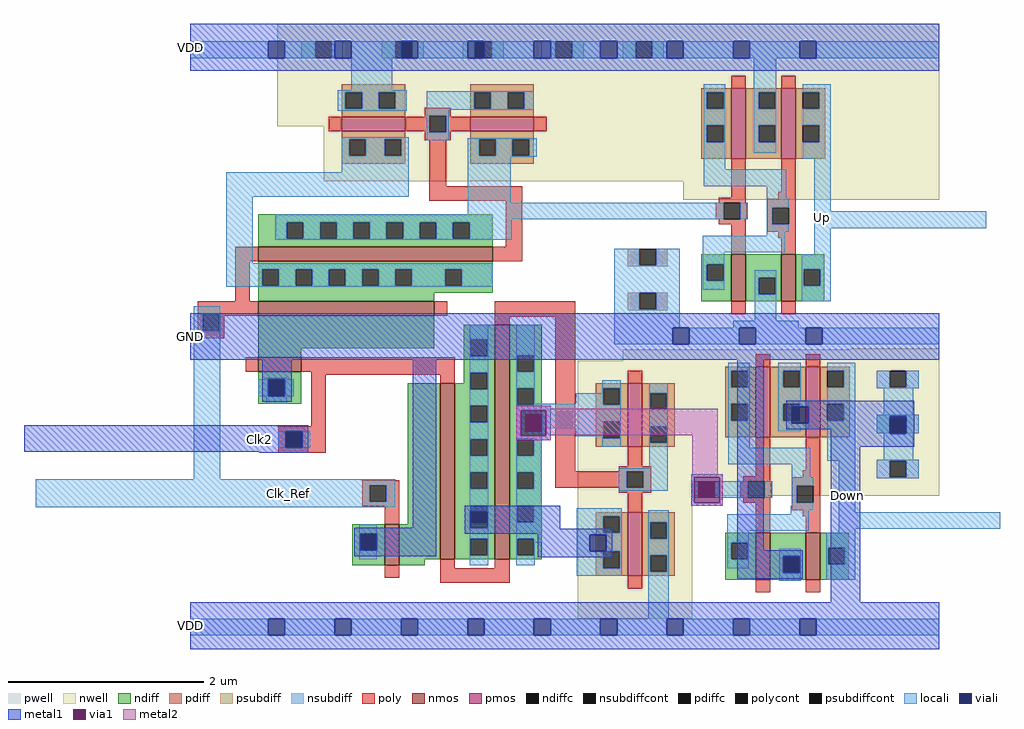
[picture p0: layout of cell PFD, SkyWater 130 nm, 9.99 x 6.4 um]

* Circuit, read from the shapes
.subckt PFD Clk_Ref Up Down Clk2 GND VDD
XM1 n1 Clk2 GND GND sky130_fd_pr__nfet_01v8 w=0.44 l=0.15
XM2 n2 Clk_Ref n1 GND sky130_fd_pr__nfet_01v8 w=1.8 l=0.15
XM3 n3 Clk_Ref n2 GND sky130_fd_pr__nfet_01v8 w=2.4 l=0.15
XM4 n4 Clk_Ref GND GND sky130_fd_pr__nfet_01v8 w=0.42 l=0.15
XM5 n5 Clk2 n4 GND sky130_fd_pr__nfet_01v8 w=1.8 l=0.15
XM6 n6 Clk2 n5 GND sky130_fd_pr__nfet_01v8 w=2.4 l=0.15
XM7 GND n3 n7 GND sky130_fd_pr__nfet_01v8 w=0.48 l=0.15
XM8 GND n6 n8 GND sky130_fd_pr__nfet_01v8 w=0.48 l=0.15
XM9 Up n7 GND GND sky130_fd_pr__nfet_01v8 w=0.48 l=0.15
XM10 Down n8 GND GND sky130_fd_pr__nfet_01v8 w=0.48 l=0.15
XM11 VDD Clk_Ref n2 VDD sky130_fd_pr__pfet_01v8 w=0.65 l=0.15
XM12 Clk_Ref Clk_Ref n3 VDD sky130_fd_pr__pfet_01v8 w=0.65 l=0.15
XM13 VDD Clk2 n5 VDD sky130_fd_pr__pfet_01v8 w=0.65 l=0.15
XM14 Clk2 Clk2 n6 VDD sky130_fd_pr__pfet_01v8 w=0.65 l=0.15
XM15 VDD n3 n7 VDD sky130_fd_pr__pfet_01v8 w=0.72 l=0.15
XM16 VDD n6 n8 VDD sky130_fd_pr__pfet_01v8 w=0.72 l=0.15
XM17 Up n7 VDD VDD sky130_fd_pr__pfet_01v8 w=0.72 l=0.15
XM18 Down n8 VDD VDD sky130_fd_pr__pfet_01v8 w=0.72 l=0.15
.ends

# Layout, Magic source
magic
tech sky130A
magscale 1 2
<< nwell >>
rect 178 1070 1534 1280
rect 274 958 1534 1070
rect 1010 920 1534 958
rect 1354 614 1534 616
rect 886 590 1534 614
rect 794 314 1534 590
rect 794 62 1028 314
<< pwell >>
rect 896 784 978 820
rect 896 694 978 730
<< nmos >>
rect 140 794 620 824
rect 140 682 500 712
rect 1108 712 1138 808
rect 1210 712 1240 808
rect 140 568 228 598
rect 398 172 428 256
rect 512 184 542 544
rect 624 184 654 664
rect 1158 142 1188 238
rect 1260 142 1290 238
<< pmos >>
rect 310 1060 440 1090
rect 574 1060 704 1090
rect 1108 1004 1138 1148
rect 1210 1004 1240 1148
rect 896 414 926 544
rect 1158 434 1188 578
rect 1260 434 1290 578
rect 896 150 926 280
<< ndiff >>
rect 140 874 620 890
rect 140 840 198 874
rect 232 840 266 874
rect 300 840 334 874
rect 368 840 402 874
rect 436 840 470 874
rect 504 840 538 874
rect 572 840 620 874
rect 140 824 620 840
rect 140 778 620 794
rect 1046 788 1108 808
rect 140 744 148 778
rect 182 744 216 778
rect 250 744 284 778
rect 318 744 352 778
rect 386 744 420 778
rect 454 744 522 778
rect 556 744 620 778
rect 140 730 620 744
rect 1046 754 1058 788
rect 1092 754 1108 788
rect 140 712 500 730
rect 140 616 500 682
rect 1046 712 1108 754
rect 1138 760 1210 808
rect 1138 726 1164 760
rect 1198 726 1210 760
rect 1138 712 1210 726
rect 1240 778 1298 808
rect 1240 744 1256 778
rect 1290 744 1298 778
rect 1240 712 1298 744
rect 560 634 624 664
rect 140 598 228 616
rect 560 600 574 634
rect 608 600 624 634
rect 140 552 228 568
rect 140 518 160 552
rect 194 518 228 552
rect 140 502 228 518
rect 560 566 624 600
rect 560 544 574 566
rect 446 256 512 544
rect 332 236 398 256
rect 332 202 348 236
rect 382 202 398 236
rect 332 172 398 202
rect 428 184 512 256
rect 542 532 574 544
rect 608 532 624 566
rect 542 498 624 532
rect 542 464 574 498
rect 608 464 624 498
rect 542 430 624 464
rect 542 396 574 430
rect 608 396 624 430
rect 542 362 624 396
rect 542 328 574 362
rect 608 328 624 362
rect 542 294 624 328
rect 542 260 574 294
rect 608 260 624 294
rect 542 226 624 260
rect 542 192 574 226
rect 608 192 624 226
rect 542 184 624 192
rect 654 602 720 664
rect 654 568 670 602
rect 704 568 720 602
rect 654 534 720 568
rect 654 500 670 534
rect 704 500 720 534
rect 654 430 720 500
rect 654 396 670 430
rect 704 396 720 430
rect 654 362 720 396
rect 654 328 670 362
rect 704 328 720 362
rect 654 294 720 328
rect 654 260 670 294
rect 704 260 720 294
rect 654 226 720 260
rect 654 192 670 226
rect 704 192 720 226
rect 654 184 720 192
rect 428 172 480 184
rect 1096 218 1158 238
rect 1096 184 1108 218
rect 1142 184 1158 218
rect 1096 142 1158 184
rect 1188 190 1260 238
rect 1188 156 1214 190
rect 1248 156 1260 190
rect 1188 142 1260 156
rect 1290 208 1348 238
rect 1290 174 1306 208
rect 1340 174 1348 208
rect 1290 142 1348 174
<< pdiff >>
rect 310 1140 440 1156
rect 310 1106 318 1140
rect 352 1106 386 1140
rect 420 1106 440 1140
rect 574 1140 704 1156
rect 310 1090 440 1106
rect 310 1044 440 1060
rect 310 1010 326 1044
rect 360 1010 398 1044
rect 432 1010 440 1044
rect 574 1106 582 1140
rect 616 1106 650 1140
rect 684 1106 704 1140
rect 574 1090 704 1106
rect 1046 1140 1108 1148
rect 1046 1106 1058 1140
rect 1092 1106 1108 1140
rect 1046 1072 1108 1106
rect 574 1044 704 1060
rect 310 994 440 1010
rect 574 1010 592 1044
rect 626 1010 660 1044
rect 694 1010 704 1044
rect 574 994 704 1010
rect 1046 1038 1058 1072
rect 1092 1038 1108 1072
rect 1046 1004 1108 1038
rect 1138 1140 1210 1148
rect 1138 1106 1164 1140
rect 1198 1106 1210 1140
rect 1138 1072 1210 1106
rect 1138 1038 1164 1072
rect 1198 1038 1210 1072
rect 1138 1004 1210 1038
rect 1240 1140 1300 1148
rect 1240 1106 1254 1140
rect 1288 1106 1300 1140
rect 1240 1072 1300 1106
rect 1240 1038 1254 1072
rect 1288 1038 1300 1072
rect 1240 1004 1300 1038
rect 1096 570 1158 578
rect 830 534 896 544
rect 830 500 846 534
rect 880 500 896 534
rect 830 466 896 500
rect 830 432 846 466
rect 880 432 896 466
rect 830 414 896 432
rect 926 524 992 544
rect 926 490 942 524
rect 976 490 992 524
rect 926 456 992 490
rect 926 422 942 456
rect 976 422 992 456
rect 1096 536 1108 570
rect 1142 536 1158 570
rect 1096 502 1158 536
rect 1096 468 1108 502
rect 1142 468 1158 502
rect 1096 434 1158 468
rect 1188 570 1260 578
rect 1188 536 1214 570
rect 1248 536 1260 570
rect 1188 502 1260 536
rect 1188 468 1214 502
rect 1248 468 1260 502
rect 1188 434 1260 468
rect 1290 570 1350 578
rect 1290 536 1304 570
rect 1338 536 1350 570
rect 1290 502 1350 536
rect 1290 468 1304 502
rect 1338 468 1350 502
rect 1290 434 1350 468
rect 926 414 992 422
rect 830 272 896 280
rect 830 238 846 272
rect 880 238 896 272
rect 830 200 896 238
rect 830 166 846 200
rect 880 166 896 200
rect 830 150 896 166
rect 926 260 992 280
rect 926 226 942 260
rect 976 226 992 260
rect 926 192 992 226
rect 926 158 942 192
rect 976 158 992 192
rect 926 150 992 158
<< ndiffc >>
rect 198 840 232 874
rect 266 840 300 874
rect 334 840 368 874
rect 402 840 436 874
rect 470 840 504 874
rect 538 840 572 874
rect 148 744 182 778
rect 216 744 250 778
rect 284 744 318 778
rect 352 744 386 778
rect 420 744 454 778
rect 522 744 556 778
rect 1058 754 1092 788
rect 1164 726 1198 760
rect 1256 744 1290 778
rect 574 600 608 634
rect 160 518 194 552
rect 348 202 382 236
rect 574 532 608 566
rect 574 464 608 498
rect 574 396 608 430
rect 574 328 608 362
rect 574 260 608 294
rect 574 192 608 226
rect 670 568 704 602
rect 670 500 704 534
rect 670 396 704 430
rect 670 328 704 362
rect 670 260 704 294
rect 670 192 704 226
rect 1108 184 1142 218
rect 1214 156 1248 190
rect 1306 174 1340 208
<< pdiffc >>
rect 318 1106 352 1140
rect 386 1106 420 1140
rect 326 1010 360 1044
rect 398 1010 432 1044
rect 582 1106 616 1140
rect 650 1106 684 1140
rect 1058 1106 1092 1140
rect 592 1010 626 1044
rect 660 1010 694 1044
rect 1058 1038 1092 1072
rect 1164 1106 1198 1140
rect 1164 1038 1198 1072
rect 1254 1106 1288 1140
rect 1254 1038 1288 1072
rect 846 500 880 534
rect 846 432 880 466
rect 942 490 976 524
rect 942 422 976 456
rect 1108 536 1142 570
rect 1108 468 1142 502
rect 1214 536 1248 570
rect 1214 468 1248 502
rect 1304 536 1338 570
rect 1304 468 1338 502
rect 846 238 880 272
rect 846 166 880 200
rect 942 226 976 260
rect 942 158 976 192
<< psubdiff >>
rect 896 786 920 820
rect 954 786 978 820
rect 896 784 978 786
rect 896 696 920 730
rect 954 696 978 730
rect 896 694 978 696
<< nsubdiff >>
rect 228 1210 256 1244
rect 290 1210 314 1244
rect 392 1210 420 1244
rect 454 1210 478 1244
rect 558 1210 584 1244
rect 618 1210 642 1244
rect 718 1210 748 1244
rect 782 1210 806 1244
rect 886 1210 912 1244
rect 946 1210 970 1244
rect 1406 536 1432 570
rect 1466 536 1492 570
rect 1406 534 1492 536
rect 1406 478 1492 480
rect 1406 444 1432 478
rect 1466 444 1492 478
rect 1406 442 1492 444
rect 1406 386 1492 388
rect 1406 352 1432 386
rect 1466 352 1492 386
rect 1406 350 1492 352
<< psubdiffcont >>
rect 920 786 954 820
rect 920 696 954 730
<< nsubdiffcont >>
rect 256 1210 290 1244
rect 420 1210 454 1244
rect 584 1210 618 1244
rect 748 1210 782 1244
rect 912 1210 946 1244
rect 1432 536 1466 570
rect 1432 444 1466 478
rect 1432 352 1466 386
<< poly >>
rect 1108 1148 1138 1174
rect 1210 1148 1240 1174
rect 480 1092 534 1108
rect 480 1090 490 1092
rect 284 1060 310 1090
rect 440 1060 490 1090
rect 480 1058 490 1060
rect 524 1090 534 1092
rect 524 1060 574 1090
rect 704 1060 730 1090
rect 524 1058 534 1060
rect 480 1042 534 1058
rect 490 948 524 1042
rect 490 918 680 948
rect 1108 924 1138 1004
rect 1210 936 1240 1004
rect 646 824 680 918
rect 1082 914 1138 924
rect 1204 922 1240 936
rect 1076 880 1092 914
rect 1126 880 1140 914
rect 1182 904 1240 922
rect 1082 870 1138 880
rect 92 794 140 824
rect 620 794 680 824
rect 92 712 122 794
rect 1108 808 1138 870
rect 1182 870 1192 904
rect 1226 870 1240 904
rect 1182 854 1240 870
rect 1204 842 1240 854
rect 1210 808 1240 842
rect 16 686 140 712
rect 16 652 26 686
rect 60 682 140 686
rect 500 682 526 712
rect 60 652 70 682
rect 16 636 70 652
rect 624 680 788 712
rect 1108 686 1138 712
rect 1210 686 1240 712
rect 624 664 654 680
rect 114 568 140 598
rect 228 568 542 598
rect 248 562 542 568
rect 248 456 278 562
rect 512 544 542 562
rect 180 446 278 456
rect 180 412 196 446
rect 230 412 278 446
rect 180 402 278 412
rect 352 336 428 346
rect 352 302 368 336
rect 402 302 428 336
rect 352 292 428 302
rect 398 256 428 292
rect 748 364 788 680
rect 1158 578 1188 604
rect 1260 578 1290 604
rect 896 544 926 570
rect 896 374 926 414
rect 878 364 944 374
rect 748 330 894 364
rect 928 330 944 364
rect 1158 354 1188 434
rect 1260 366 1290 434
rect 1132 344 1188 354
rect 1254 352 1290 366
rect 878 320 944 330
rect 896 280 926 320
rect 1126 310 1142 344
rect 1176 310 1190 344
rect 1232 334 1290 352
rect 1132 300 1188 310
rect 398 146 428 172
rect 512 166 542 184
rect 624 166 654 184
rect 512 136 654 166
rect 1158 238 1188 300
rect 1232 300 1242 334
rect 1276 300 1290 334
rect 1232 284 1290 300
rect 1254 272 1290 284
rect 1260 238 1290 272
rect 896 124 926 150
rect 1158 116 1188 142
rect 1260 116 1290 142
<< polycont >>
rect 490 1058 524 1092
rect 1092 880 1126 914
rect 1192 870 1226 904
rect 26 652 60 686
rect 196 412 230 446
rect 368 302 402 336
rect 894 330 928 364
rect 1142 310 1176 344
rect 1242 300 1276 334
<< locali >>
rect 0 1210 160 1244
rect 194 1210 256 1244
rect 290 1210 296 1244
rect 330 1210 420 1244
rect 466 1210 568 1244
rect 618 1210 704 1244
rect 738 1210 748 1244
rect 782 1210 840 1244
rect 874 1210 912 1244
rect 946 1210 976 1244
rect 1010 1210 1112 1244
rect 1146 1210 1248 1244
rect 1282 1210 1534 1244
rect 330 1144 414 1210
rect 302 1140 444 1144
rect 302 1106 318 1140
rect 352 1106 386 1140
rect 420 1106 444 1140
rect 302 1102 444 1106
rect 484 1140 704 1142
rect 484 1106 582 1140
rect 616 1106 650 1140
rect 684 1106 704 1140
rect 484 1104 704 1106
rect 1052 1140 1096 1156
rect 1052 1106 1058 1140
rect 1092 1106 1096 1140
rect 484 1092 530 1104
rect 484 1058 490 1092
rect 524 1058 530 1092
rect 310 1044 448 1048
rect 310 1010 326 1044
rect 360 1010 398 1044
rect 432 1010 448 1044
rect 484 1042 530 1058
rect 1052 1072 1096 1106
rect 568 1044 710 1046
rect 310 976 448 1010
rect 74 926 448 976
rect 568 1010 592 1044
rect 626 1010 660 1044
rect 694 1010 710 1044
rect 568 1008 710 1010
rect 1052 1038 1058 1072
rect 1092 1038 1096 1072
rect 74 790 128 926
rect 568 914 656 1008
rect 1052 982 1096 1038
rect 1154 1140 1200 1210
rect 1154 1106 1164 1140
rect 1198 1106 1200 1140
rect 1154 1072 1200 1106
rect 1154 1038 1164 1072
rect 1198 1038 1200 1072
rect 1154 1016 1200 1038
rect 1254 1140 1312 1156
rect 1288 1106 1312 1140
rect 1254 1072 1312 1106
rect 1288 1038 1312 1072
rect 1254 1004 1312 1038
rect 1052 948 1220 982
rect 1180 922 1220 948
rect 568 890 1092 914
rect 174 880 1092 890
rect 1126 880 1142 914
rect 1180 904 1226 922
rect 174 874 658 880
rect 174 840 198 874
rect 232 840 266 874
rect 300 840 334 874
rect 368 840 402 874
rect 436 840 470 874
rect 504 840 538 874
rect 572 840 658 874
rect 1180 870 1192 904
rect 1180 854 1226 870
rect 1278 896 1312 1004
rect 1278 862 1630 896
rect 1180 846 1218 854
rect 174 838 658 840
rect 74 778 620 790
rect 74 744 148 778
rect 182 744 216 778
rect 250 744 284 778
rect 318 744 352 778
rect 386 744 420 778
rect 454 744 522 778
rect 556 744 620 778
rect 74 742 620 744
rect 868 786 920 820
rect 954 786 1002 820
rect 868 730 1002 786
rect 1050 812 1218 846
rect 1050 788 1094 812
rect 1278 808 1312 862
rect 1050 754 1058 788
rect 1092 754 1094 788
rect 1252 778 1312 808
rect 1050 736 1094 754
rect 1156 760 1200 776
rect 8 686 62 702
rect 8 652 26 686
rect 60 652 62 686
rect 868 696 920 730
rect 954 696 1002 730
rect 8 348 62 652
rect 572 634 610 664
rect 572 600 574 634
rect 608 600 610 634
rect 572 566 610 600
rect 156 552 198 556
rect 140 518 160 552
rect 194 518 212 552
rect 572 532 574 566
rect 608 532 610 566
rect 156 502 198 518
rect 572 498 610 532
rect 572 464 574 498
rect 608 464 610 498
rect 180 412 196 446
rect 230 412 246 446
rect 572 430 610 464
rect 572 396 574 430
rect 608 396 610 430
rect 572 362 610 396
rect -316 336 420 348
rect -316 302 368 336
rect 402 302 420 336
rect -316 290 420 302
rect 572 328 574 362
rect 608 328 610 362
rect 572 294 610 328
rect 346 236 382 256
rect 346 202 348 236
rect 346 184 382 202
rect 572 248 574 294
rect 608 248 610 294
rect 572 226 610 248
rect 572 192 574 226
rect 608 192 610 226
rect 572 172 610 192
rect 668 602 706 664
rect 868 658 1002 696
rect 1156 726 1164 760
rect 1198 726 1200 760
rect 1156 672 1200 726
rect 1252 744 1256 778
rect 1290 744 1312 778
rect 1252 712 1312 744
rect 1112 658 1246 672
rect 868 624 988 658
rect 1022 624 1124 658
rect 1158 624 1260 658
rect 1294 624 1534 658
rect 668 568 670 602
rect 704 568 706 602
rect 668 534 706 568
rect 1102 570 1146 586
rect 668 500 670 534
rect 704 502 706 534
rect 844 534 882 550
rect 844 524 846 534
rect 790 502 846 524
rect 704 500 846 502
rect 880 500 882 534
rect 668 480 882 500
rect 668 446 686 480
rect 720 466 882 480
rect 720 452 846 466
rect 720 446 728 452
rect 668 440 728 446
rect 668 430 720 440
rect 790 436 846 452
rect 668 396 670 430
rect 704 396 720 430
rect 844 432 846 436
rect 880 432 882 466
rect 844 414 882 432
rect 940 524 978 544
rect 940 490 942 524
rect 976 490 978 524
rect 940 456 978 490
rect 940 422 942 456
rect 976 422 978 456
rect 668 362 720 396
rect 940 370 978 422
rect 1102 536 1108 570
rect 1142 536 1146 570
rect 1102 502 1146 536
rect 1102 468 1108 502
rect 1142 468 1146 502
rect 1102 412 1146 468
rect 1204 570 1250 586
rect 1204 536 1214 570
rect 1248 536 1250 570
rect 1204 508 1250 536
rect 1304 570 1362 586
rect 1338 536 1362 570
rect 1204 502 1266 508
rect 1204 468 1214 502
rect 1248 496 1266 502
rect 1204 462 1232 468
rect 1204 450 1266 462
rect 1304 502 1362 536
rect 1406 536 1432 570
rect 1466 536 1492 570
rect 1406 534 1492 536
rect 1338 468 1362 502
rect 1420 480 1480 534
rect 1204 446 1250 450
rect 1102 378 1270 412
rect 1304 386 1362 468
rect 1406 478 1492 480
rect 1406 442 1432 478
rect 1420 441 1432 442
rect 1466 442 1492 478
rect 1466 441 1480 442
rect 1420 388 1480 441
rect 668 328 670 362
rect 704 328 720 362
rect 668 294 720 328
rect 878 364 978 370
rect 878 330 894 364
rect 928 330 978 364
rect 1232 352 1270 378
rect 878 324 978 330
rect 1028 310 1040 344
rect 1074 310 1142 344
rect 1176 310 1192 344
rect 1232 334 1276 352
rect 1232 300 1242 334
rect 1232 294 1276 300
rect 668 260 670 294
rect 704 260 720 294
rect 668 226 720 260
rect 668 192 670 226
rect 704 218 720 226
rect 792 272 884 288
rect 1230 284 1276 294
rect 792 238 846 272
rect 880 238 884 272
rect 792 234 884 238
rect 704 192 706 218
rect 668 172 706 192
rect 792 200 818 234
rect 852 200 884 234
rect 792 166 846 200
rect 880 166 884 200
rect 792 150 884 166
rect 938 260 980 284
rect 1230 276 1266 284
rect 938 226 942 260
rect 976 226 980 260
rect 938 192 980 226
rect 938 158 942 192
rect 976 158 980 192
rect 1100 242 1266 276
rect 1328 280 1362 386
rect 1406 386 1492 388
rect 1406 352 1432 386
rect 1466 352 1492 386
rect 1406 350 1492 352
rect 1328 246 1658 280
rect 1100 218 1144 242
rect 1328 238 1362 246
rect 1100 184 1108 218
rect 1142 184 1144 218
rect 1302 208 1362 238
rect 1100 166 1144 184
rect 1206 190 1250 206
rect 938 62 980 158
rect 1206 156 1214 190
rect 1248 156 1250 190
rect 1206 140 1250 156
rect 1302 174 1306 208
rect 1340 174 1362 208
rect 1302 142 1362 174
rect 0 28 160 62
rect 194 28 296 62
rect 330 28 432 62
rect 466 28 568 62
rect 602 28 704 62
rect 738 28 840 62
rect 874 28 976 62
rect 1010 28 1112 62
rect 1146 28 1248 62
rect 1282 28 1534 62
<< viali >>
rect 160 1210 194 1244
rect 296 1210 330 1244
rect 432 1210 454 1244
rect 454 1210 466 1244
rect 568 1210 584 1244
rect 584 1210 602 1244
rect 704 1210 738 1244
rect 840 1210 874 1244
rect 976 1210 1010 1244
rect 1112 1210 1146 1244
rect 1248 1210 1282 1244
rect 160 518 194 552
rect 196 412 230 446
rect 348 202 382 236
rect 574 260 608 282
rect 574 248 608 260
rect 988 624 1022 658
rect 1124 624 1158 658
rect 1260 624 1294 658
rect 686 446 720 480
rect 1232 468 1248 496
rect 1248 468 1266 496
rect 1232 462 1266 468
rect 1432 444 1466 475
rect 1432 441 1466 444
rect 1040 310 1074 344
rect 818 200 852 234
rect 1214 156 1248 190
rect 160 28 194 62
rect 296 28 330 62
rect 432 28 466 62
rect 568 28 602 62
rect 704 28 738 62
rect 840 28 874 62
rect 976 28 1010 62
rect 1112 28 1146 62
rect 1248 28 1282 62
<< metal1 >>
rect 0 1244 1534 1280
rect 0 1210 160 1244
rect 194 1210 296 1244
rect 330 1210 432 1244
rect 466 1210 568 1244
rect 602 1210 704 1244
rect 738 1210 840 1244
rect 874 1210 976 1244
rect 1010 1210 1112 1244
rect 1146 1210 1248 1244
rect 1282 1210 1534 1244
rect 0 1184 1534 1210
rect 0 658 1534 688
rect 0 624 988 658
rect 1022 624 1124 658
rect 1158 624 1260 658
rect 1294 624 1534 658
rect 0 592 1534 624
rect 148 552 208 592
rect 148 518 160 552
rect 194 518 208 552
rect 148 506 208 518
rect -340 446 242 458
rect -340 412 196 446
rect 230 412 242 446
rect -340 404 242 412
rect 142 402 242 404
rect 456 248 504 592
rect 668 489 738 498
rect 668 437 677 489
rect 729 437 738 489
rect 668 428 738 437
rect 1026 352 1090 358
rect 1026 300 1032 352
rect 1084 300 1090 352
rect 1026 294 1090 300
rect 336 236 504 248
rect 562 282 758 294
rect 562 248 574 282
rect 608 248 758 282
rect 562 246 758 248
rect 562 236 864 246
rect 336 202 348 236
rect 382 202 504 236
rect 336 190 504 202
rect 712 234 864 236
rect 712 200 818 234
rect 852 200 864 234
rect 712 188 864 200
rect 1120 202 1174 592
rect 1220 496 1482 508
rect 1220 462 1232 496
rect 1266 475 1482 496
rect 1266 462 1432 475
rect 1220 450 1432 462
rect 1312 441 1432 450
rect 1466 441 1482 475
rect 1312 414 1482 441
rect 1120 190 1254 202
rect 1120 156 1214 190
rect 1248 156 1254 190
rect 1120 144 1254 156
rect 1312 96 1372 414
rect 0 62 1534 96
rect 0 28 160 62
rect 194 28 296 62
rect 330 28 432 62
rect 466 28 568 62
rect 602 28 704 62
rect 738 28 840 62
rect 874 28 976 62
rect 1010 28 1112 62
rect 1146 28 1248 62
rect 1282 28 1534 62
rect 0 0 1534 28
<< via1 >>
rect 677 480 729 489
rect 677 446 686 480
rect 686 446 720 480
rect 720 446 729 480
rect 677 437 729 446
rect 1032 344 1084 352
rect 1032 310 1040 344
rect 1040 310 1074 344
rect 1074 310 1084 344
rect 1032 300 1084 310
<< metal2 >>
rect 668 492 738 498
rect 668 489 1080 492
rect 668 437 677 489
rect 729 438 1080 489
rect 729 437 738 438
rect 668 428 738 437
rect 1028 358 1080 438
rect 1026 352 1090 358
rect 1026 300 1032 352
rect 1084 300 1090 352
rect 1026 294 1090 300
<< labels >>
rlabel locali s 174 292 228 346 4 Clk_Ref
port 1 nsew
rlabel locali s 1278 866 1312 900 4 Up
port 2 nsew
rlabel locali s 1328 298 1362 332 4 Down
port 3 nsew
rlabel metal1 s 142 430 142 430 4 Clk2
port 4 nsew
rlabel metal1 s 0 640 0 640 4 GND
port 5 nsew
rlabel metal1 s 0 1232 0 1232 4 VDD
port 6 nsew
rlabel metal1 s 0 48 0 48 4 VDD
port 6 nsew
<< end >>
